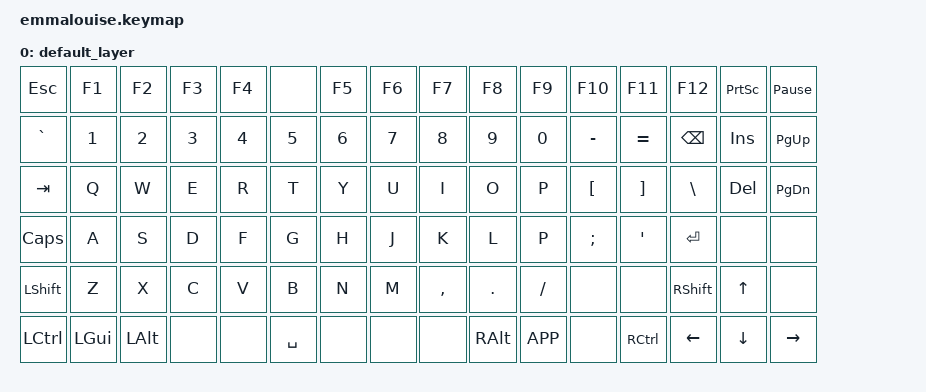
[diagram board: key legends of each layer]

#include <behaviors.dtsi>
#include <dt-bindings/zmk/keys.h>
#include <dt-bindings/zmk/bt.h>

/ {
        keymap {
                compatible = "zmk,keymap";

                default_layer {
                        bindings = <
//      0         1        2        3      4      5         6      7      8         9        10        11        12      
        &kp ESC   &kp F1   &kp F2   &kp F3 &kp F4 &none     &kp F5 &kp F6 &kp F7    &kp F8   &kp F9    &kp F10   &kp F11   &kp F12   &kp PSCRN &kp PAUSE_BREAK
        &kp GRAVE &kp N1   &kp N2   &kp N3 &kp N4 &kp N5    &kp N6 &kp N7 &kp N8    &kp N9   &kp N0    &kp MINUS &kp EQUAL &kp BSPC  &kp INS   &kp PG_UP
        &kp TAB   &kp Q    &kp W    &kp E  &kp R  &kp T     &kp Y  &kp U  &kp I     &kp O    &kp P     &kp LBKT  &kp RBKT  &kp BSLH  &kp DEL   &kp PG_DN
        &kp CAPS  &kp A    &kp S    &kp D  &kp F  &kp G     &kp H  &kp J  &kp K     &kp L    &kp P     &kp SEMI  &kp SQT   &kp ENTER &none     &none
        &kp LSHFT &kp Z    &kp X    &kp C  &kp V  &kp B     &kp N  &kp M  &kp COMMA &kp DOT  &kp FSLH  &none     &none     &kp RSHFT &kp UP    &none
        &kp LCTRL &kp LGUI &kp LALT &none  &none  &kp SPACE &none  &none  &none     &kp RALT &kp K_APP &none     &kp RCTRL &kp LEFT  &kp DOWN  &kp RIGHT
                        >;
                };
        };
};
